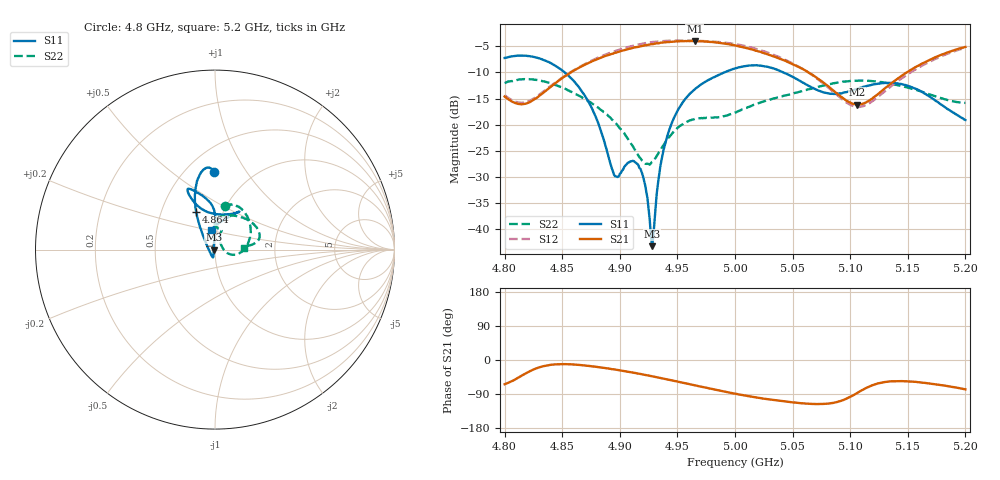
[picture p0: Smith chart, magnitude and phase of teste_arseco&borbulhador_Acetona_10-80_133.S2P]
! Network Analyzer HP8722D
! Hewlett-Packard
! Data name: Linha & Wilkinson
! Saver's name: Rodrigo Anjos
! Comments: Teste da utilização de aquisição
! continua pelo VNA HP8722D
! Time and date: 25/4/2025 16:22
!  Frequency  S11  S21  S12  S22
# HZ  S  MA R 50
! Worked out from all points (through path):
!   401 points, 4.8 GHz to 5.2 GHz, reference 50 ohm
!   highest |S21| = -3.97 dB at 4.965 GHz (marker M1); lowest = -16.1 dB at 5.106 GHz (marker M2)
!   lowest |S11| = -43.3 dB at 4.928 GHz (marker M3), VSWR 1.01, Z = 49.3 - j0.0667 ohm
!   |S11| at or under -10 dB: 4.852 GHz to 4.991 GHz (138.4 MHz wide, 2.81 % of centre); 5.042 GHz to end of sweep
!   |S22| runs from -27.7 to -11.3 dB; largest |S21 - S12| = 1.2
!   S11 on the Smith chart (normalised r, x): 4.8 GHz: 0.68, +0.72; 4.864 GHz: 0.75, +0.33; 5.2 GHz: 0.94, +0.21
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4.8e9  0.4352 90.7  0.1862 -64.0  0.1912 69.6  0.2499 77.4
4.82e9  0.4539 97.1  0.1612 -32.6  0.1669 98.2  0.273 61.5
4.844e9  0.3665 106.9  0.249 -11.6  0.2527 119.2  0.2398 35.6
4.864e9  0.2325 116.7  0.3492 -12.7  0.3521 121.0  0.1904 12.2
4.867e9  0.2091 118.4  0.3629 -13.6  0.3678 120.8  0.183 8.8
4.88e9  0.1124 128.5  0.4227 -18.3  0.4329 118.4  0.1483 -5.1
4.896e9  0.03209 -166.5  0.4873 -25.2  0.506 113.2  0.1045 -15.8
4.909e9  0.04444 -107.9  0.5341 -31.9  0.5602 107.7  0.06799 -14.4
4.917e9  0.03853 -103.2  0.5604 -36.3  0.5885 103.7  0.04877 -1.3
4.922e9  0.02638 -107.0  0.5753 -39.3  0.6021 100.7  0.04238 15.8
4.928e9  0.006869 -174.4  0.5893 -42.9  0.6173 97.1  0.04399 39.9
4.93e9  0.01142 124.5  0.5956 -44.0  0.6193 95.8  0.04685 47.8
4.934e9  0.03233 99.6  0.6017 -46.7  0.6275 93.5  0.05453 57.8
4.945e9  0.103 90.2  0.6214 -53.6  0.6387 86.5  0.08107 69.9
4.965e9  0.2182 91.1  0.6333 -66.8  0.6387 73.6  0.1135 71.5
5e9  0.3454 109.2  0.574 -88.9  0.5926 50.8  0.1308 88.4
5.031e9  0.3517 115.2  0.4608 -104.7  0.4791 33.5  0.1749 84.8
5.067e9  0.2258 105.4  0.3018 -116.0  0.2986 23.5  0.2222 57.2
5.106e9  0.2203 64.8  0.1558 -87.2  0.1481 55.8  0.2632 24.9
5.134e9  0.2508 57.3  0.2401 -56.6  0.2258 88.7  0.2481 12.4
5.17e9  0.1824 70.8  0.4222 -62.4  0.4061 84.5  0.1936 6.8
5.2e9  0.1109 100.4  0.555 -77.5  0.5443 70.4  0.1617 3.9
